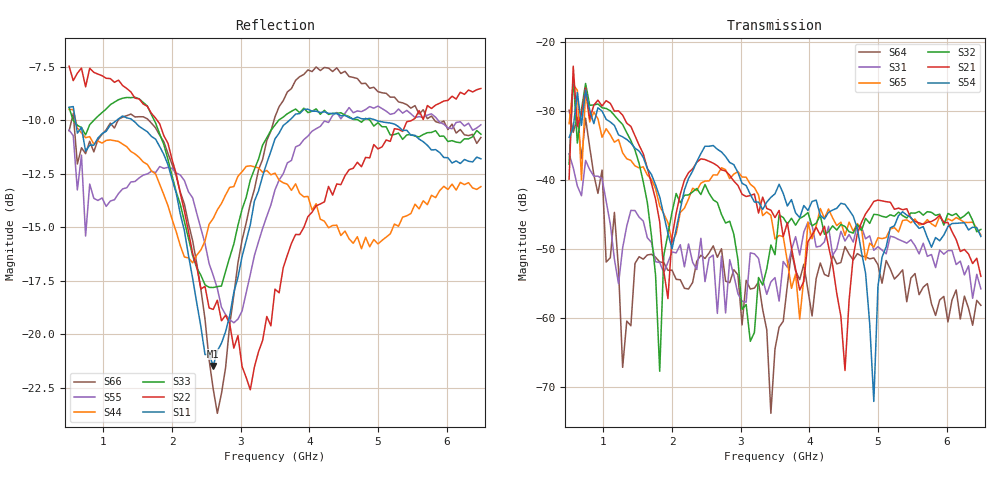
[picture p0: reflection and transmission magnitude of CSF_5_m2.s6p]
!Keysight Technologies,M9804A,MY58100912,A.14.10.03
!Date: Thursday, April 27, 2023 10:28:33
!Correction: S11(C  6-Port  )
!S12(C  6-Port  )
!S13(C  6-Port  )
!S14(C  6-Port  )
!S15(C  6-Port  )
!S16(C  6-Port  )
!S21(C  6-Port  )
!S22(C  6-Port  )
!S23(C  6-Port  )
!S24(C  6-Port  )
!S25(C  6-Port  )
!S26(C  6-Port  )
!S31(C  6-Port  )
!S32(C  6-Port  )
!S33(C  6-Port  )
!S34(C  6-Port  )
!S35(C  6-Port  )
!S36(C  6-Port  )
!S41(C  6-Port  )
!S42(C  6-Port  )
!S43(C  6-Port  )
!S44(C  6-Port  )
!S45(C  6-Port  )
!S46(C  6-Port  )
!S51(C  6-Port  )
!S52(C  6-Port  )
!S53(C  6-Port  )
!S54(C  6-Port  )
!S55(C  6-Port  )
!S56(C  6-Port  )
!S61(C  6-Port  )
!S62(C  6-Port  )
!S63(C  6-Port  )
!S64(C  6-Port  )
!S65(C  6-Port  )
!S66(C  6-Port  )
!S6P File: Measurement: :
# Hz S  RI  R 50
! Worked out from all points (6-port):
!   101 points, 500 MHz to 6.5 GHz, reference 50 ohm
!   strongest paths, dB at 500 MHz, 2 GHz, 3.5 GHz, 5 GHz, 6.5 GHz:
!     S54: -33.8, -49.9, -42.0, -55.4, -48.1
!     S21: -39.8, -48.2, -45.4, -42.9, -53.9
!     S32: -37.7, -44.6, -50.8, -45.0, -47.1
!     S65: -31.8, -48.9, -48.5, -48.3, -47.9
!     S31: -36.2, -50.4, -54.1, -49.6, -55.8
!     S64: -29.8, -53.0, -64.5, -52.2, -58.1
!   lowest |S11| = -21.5 dB at 2.6 GHz (marker M1), VSWR 1.18, Z = 42.5 + j2.15 ohm
!   |S11| at or under -10 dB: 590.8 MHz to 1.195 GHz (604.1 MHz wide, 67.7 % of centre); 1.425 GHz to 3.712 GHz (2.287 GHz wide, 89 % of centre); 4.969 GHz to end of sweep
